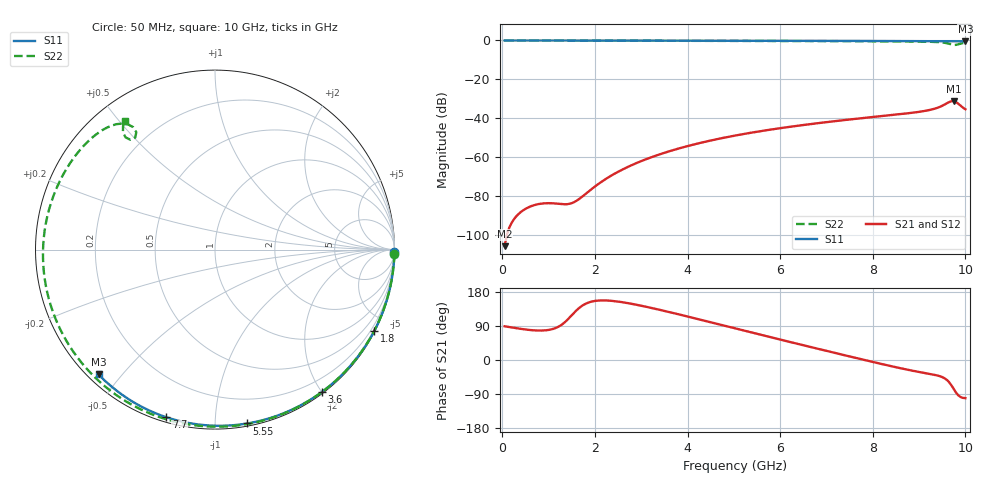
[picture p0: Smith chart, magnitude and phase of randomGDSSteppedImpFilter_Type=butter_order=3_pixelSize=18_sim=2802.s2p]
! freq	dB(S11)	phase(S11)	dB(S12)	phase(S12)
!  dB(S21)	phase(S21)	dB(S22)	phase(S22)
!S-par simulation data
#  GHz  S  DB  R 50
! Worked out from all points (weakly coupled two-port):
!   200 points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, 50 MHz to 10 GHz, reference 50 ohm
!   highest |S21| = -31.15 dB at 9.75 GHz (marker M1); lowest = -105.5 dB at 50 MHz (marker M2)
!   lowest |S11| = -0.4 dB at 10 GHz (marker M3), VSWR 39.10, Z = 1.52 - j21.7 ohm
!   |S11| at or under -10 dB: nowhere
!   |S22| runs from -2.3 to 0.0 dB; largest |S21 - S12| = 0
!   S11 on the Smith chart (normalised r, x): 50 MHz: open; 1.8 GHz: 0.04, -4.13; 3.6 GHz: 0.02, -2.00; 5.55 GHz: 0.02, -1.20; 7.7 GHz: 0.02, -0.75; 10 GHz: 0.03, -0.43
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0.05  -0.00 -0.8  -105.54 89.0  -105.54 89.0  -0.00 -1.4
0.85  -0.02 -13.0  -83.69 77.8  -83.69 77.8  -0.03 -23.2
1.75  -0.03 -26.5  -79.68 145.2  -79.68 145.2  -0.06 -47.1
1.8  -0.03 -27.2  -78.71 148.5  -78.71 148.5  -0.06 -48.3
2.15  -0.04 -32.4  -72.39 157.3  -72.39 157.3  -0.07 -57.3
2.5  -0.05 -37.5  -67.39 154.2  -67.39 154.2  -0.08 -66.1
2.9  -0.06 -43.3  -62.88 145.7  -62.88 145.7  -0.10 -76.0
3.4  -0.07 -50.4  -58.42 132.4  -58.42 132.4  -0.11 -88.0
3.6  -0.07 -53.2  -56.90 126.7  -56.90 126.7  -0.12 -92.7
4.3  -0.09 -62.9  -52.42 105.7  -52.42 105.7  -0.15 -108.8
5.05  -0.11 -73.0  -48.69 82.7  -48.69 82.7  -0.19 -125.4
5.55  -0.13 -79.5  -46.64 67.5  -46.64 67.5  -0.21 -136.4
6.15  -0.15 -87.2  -44.50 49.4  -44.50 49.4  -0.25 -149.4
6.7  -0.18 -94.0  -42.78 33.0  -42.78 33.0  -0.30 -161.5
7.7  -0.24 -106.2  -40.03 3.5  -40.03 3.5  -0.39 176.1
8.35  -0.29 -113.9  -38.41 -15.0  -38.41 -15.0  -0.46 160.6
9  -0.35 -121.4  -36.63 -31.6  -36.63 -31.6  -0.59 143.7
9.45  -0.39 -126.7  -34.05 -42.9  -34.05 -42.9  -0.92 129.8
9.6  -0.40 -128.4  -32.24 -52.6  -32.24 -52.6  -1.42 124.8
9.75  -0.41 -130.2  -31.15 -76.9  -31.15 -76.9  -2.31 125.4
9.85  -0.42 -131.4  -32.54 -93.6  -32.54 -93.6  -1.94 128.6
10  -0.44 -133.1  -35.31 -100.6  -35.31 -100.6  -1.14 124.9
